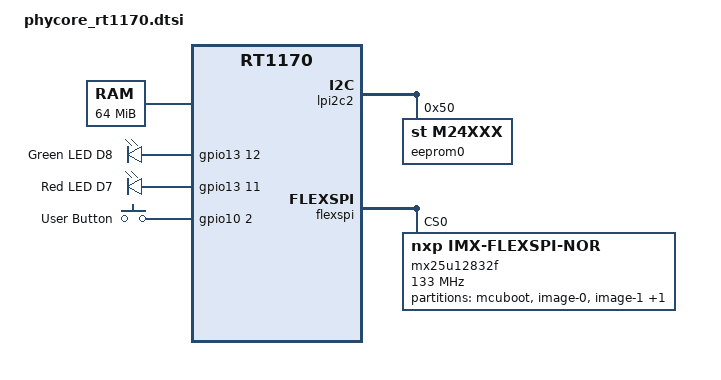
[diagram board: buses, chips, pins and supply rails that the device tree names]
/*
 * Copyright 2024, PHYTEC America, LLC
 *
 * SPDX-License-Identifier: Apache-2.0
 */

#include "phycore_rt1170-pinctrl.dtsi"
#include <zephyr/dt-bindings/input/input-event-codes.h>

/ {
	aliases {
		led0 = &green_led;
		led1 = &red_led;
		sw0 = &user_button;
		eeprom-0 = &eeprom0;
		sdram0 = &sdram0;
	};

	sdram0: memory@80000000 {
		/* MT48LC16M16A2B4-7EIT */
		device_type = "memory";
		reg = <0x80000000 DT_SIZE_M(64)>;
	};

	leds {
		compatible = "gpio-leds";
		green_led: led-1 {
			gpios = <&gpio13 12 GPIO_ACTIVE_HIGH>;
			label = "Green LED D8";
		};

		red_led: led-2 {
			gpios = <&gpio13 11 GPIO_ACTIVE_HIGH>;
			label = "Red LED D7";
		};
	};

	gpio_keys {
		compatible = "gpio-keys";
		user_button: button-1 {
			label = "User Button";
			gpios = <&gpio10 2 GPIO_ACTIVE_HIGH>;
			zephyr,code = <INPUT_KEY_0>;
		};
	};
};

&lpuart1 {
	pinctrl-0 = <&pinmux_lpuart1>;
	pinctrl-1 = <&pinmux_lpuart1_sleep>;
	pinctrl-names = "default", "sleep";
};

&lpuart5 {
	pinctrl-0 = <&pinmux_lpuart5>;
	pinctrl-1 = <&pinmux_lpuart5_sleep>;
	pinctrl-names = "default", "sleep";
};

&lpuart6 {
	pinctrl-0 = <&pinmux_lpuart6>;
	pinctrl-1 = <&pinmux_lpuart6_sleep>;
	pinctrl-names = "default", "sleep";
};

&lpi2c1 {
	pinctrl-0 =<&pinmux_lpi2c1>;
	pinctrl-names = "default";
};

&lpi2c2 {
	pinctrl-0 =<&pinmux_lpi2c2>;
	pinctrl-names = "default";
	status = "okay";

	eeprom0: eeprom@50 {
		compatible = "st,m24xxx", "atmel,at24";
		reg = <0x50>;
		status = "okay";
		size = <256>;
		pagesize = <8>;
		address-width = <16>;
		timeout = <5>;
	};
};

&lpspi1 {
	pinctrl-0 = <&pinmux_lpspi1>;
	pinctrl-names = "default";
};

&flexspi {
	pinctrl-0 = <&pinmux_flexspi1>;
	pinctrl-names = "default";
};

&flexspi {
	status = "okay";
	ahb-prefetch;
	ahb-read-addr-opt;
	rx-clock-source = <1>;
	reg = <0x400cc000 0x4000>, <0x30000000 DT_SIZE_M(16)>;
	mx25u12832f: mx25u12832f@0 {
		compatible = "nxp,imx-flexspi-nor";
		/* MX25U12832FM2I02 is 16MB, 128MBit flash part */
		size = <DT_SIZE_M(16 * 8)>;
		reg = <0>;
		spi-max-frequency = <133000000>;
		status = "okay";
		jedec-id = [c2 25 38];
		erase-block-size = <4096>;
		write-block-size = <1>;

		partitions {
			compatible = "fixed-partitions";
			#address-cells = <1>;
			#size-cells = <1>;

			boot_partition: partition@0 {
				label = "mcuboot";
				reg = <0x00000000 DT_SIZE_K(128)>;
			};
			/* Note slot 0 has one additional sector,
			 * this is intended for use with the swap move algorithm
			 */
			slot0_partition: partition@20000 {
				label = "image-0";
				reg = <0x00020000 0x301000>;
			};
			slot1_partition: partition@321000 {
				label = "image-1";
				reg = <0x00321000 0x300000>;
			};
			storage_partition: partition@621000 {
				label = "storage";
				reg = <0x00621000 DT_SIZE_K(1984)>;
			};
		};
	};
};
